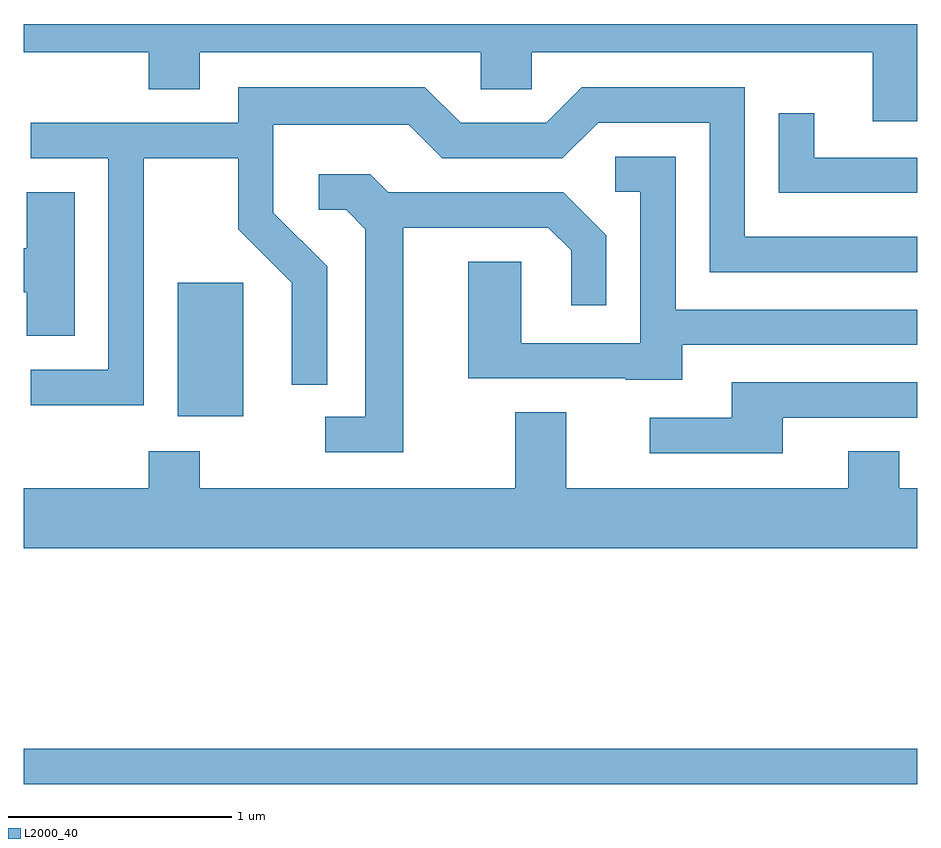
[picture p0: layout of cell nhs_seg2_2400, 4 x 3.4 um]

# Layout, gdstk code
import gdstk
lib = gdstk.Library(unit=1e-6, precision=1e-09)
def R(c, l, rs):  # rectangles x0, y0, x1, y1
    for r in rs: c.add(gdstk.rectangle(r[:2], r[2:], *l))
def P(c, l, *ps):  # polygons
    for p in ps: c.add(gdstk.Polygon(p, *l))
L2000_40 = (2000, 40)

nhs_seg2_2400 = lib.new_cell('nhs_seg2_2400')
R(nhs_seg2_2400, L2000_40, [(255.611,1018.401,259.611,1018.559), (256.301,1020.046,256.594,1020.644)])
P(nhs_seg2_2400, L2000_40, [(259.611,1021.802),(255.611,1021.802),(255.611,1021.676),(256.171,1021.676),(256.171,1021.511),(256.399,1021.511),(256.399,1021.676),(257.656,1021.676),(257.656,1021.511),(257.884,1021.511),(257.884,1021.676),(259.411,1021.676),(259.411,1021.366),(259.611,1021.366)],
  [(256.149,1021.201),(256.571,1021.201),(256.571,1020.884),(256.811,1020.644),(256.811,1020.188),(256.969,1020.188),(256.969,1020.717),(256.729,1020.957),(256.729,1021.351),(257.334,1021.351),(257.484,1021.201),(258.022,1021.201),(258.182,1021.361),(258.681,1021.361),(258.681,1020.691),(259.611,1020.691),(259.611,1020.849),(258.839,1020.849),(258.839,1021.519),(258.109,1021.519),(257.949,1021.359),(257.567,1021.359),(257.407,1021.519),(256.571,1021.519),(256.571,1021.359),(255.643,1021.359),(255.643,1021.201),(255.991,1021.201),(255.991,1020.254),(255.643,1020.254),(255.643,1020.096),(256.149,1020.096)],
  [(259.611,1021.204),(259.149,1021.204),(259.149,1021.403),(258.991,1021.403),(258.991,1021.046),(259.611,1021.046)],
  [(258.559,1020.366),(259.611,1020.366),(259.611,1020.524),(258.529,1020.524),(258.529,1021.209),(258.258,1021.209),(258.258,1021.051),(258.371,1021.051),(258.371,1020.374),(257.839,1020.374),(257.839,1020.739),(257.601,1020.739),(257.601,1020.216),(258.305,1020.216),(258.305,1020.211),(258.559,1020.211)],
  [(257.309,1020.891),(257.959,1020.891),(258.061,1020.789),(258.061,1020.543),(258.219,1020.543),(258.219,1020.857),(258.027,1021.049),(257.242,1021.049),(257.162,1021.129),(256.933,1021.129),(256.933,1020.971),(257.054,1020.971),(257.141,1020.884),(257.141,1020.044),(256.962,1020.044),(256.962,1019.886),(257.309,1019.886)],
  [(255.839,1021.049),(255.626,1021.049),(255.626,1020.799),(255.611,1020.799),(255.611,1020.601),(255.626,1020.601),(255.626,1020.406),(255.839,1020.406)],
  [(259.009,1020.041),(259.611,1020.041),(259.611,1020.199),(258.781,1020.199),(258.781,1020.039),(258.413,1020.039),(258.413,1019.881),(259.009,1019.881)],
  [(259.611,1019.724),(259.529,1019.724),(259.529,1019.889),(259.301,1019.889),(259.301,1019.724),(258.039,1019.724),(258.039,1020.064),(257.811,1020.064),(257.811,1019.724),(256.399,1019.724),(256.399,1019.889),(256.171,1019.889),(256.171,1019.724),(255.611,1019.724),(255.611,1019.456),(259.611,1019.456)])

lib.write_gds('nhs_seg2_2400.gds')
